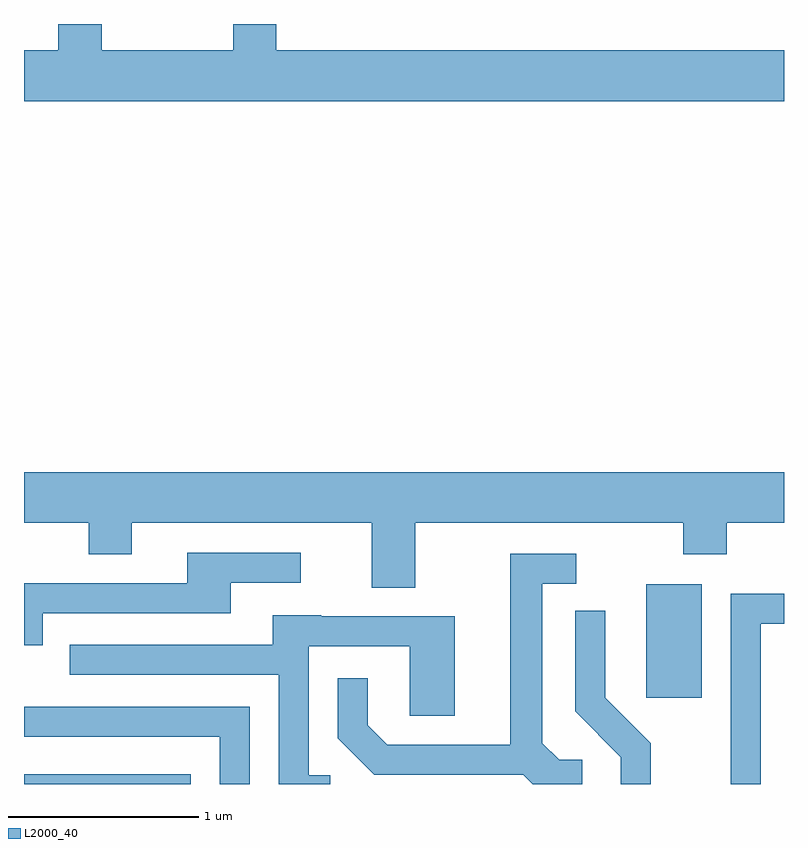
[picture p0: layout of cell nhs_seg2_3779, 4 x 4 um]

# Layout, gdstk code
import gdstk
lib = gdstk.Library(unit=1e-6, precision=1e-09)
def R(c, l, rs):  # rectangles x0, y0, x1, y1
    for r in rs: c.add(gdstk.rectangle(r[:2], r[2:], *l))
def P(c, l, *ps):  # polygons
    for p in ps: c.add(gdstk.Polygon(p, *l))
L2000_40 = (2000, 40)

nhs_seg2_3779 = lib.new_cell('nhs_seg2_3779')
R(nhs_seg2_3779, L2000_40, [(295.611,1075.802,296.489,1075.854), (298.886,1076.256,299.179,1076.854)])
P(nhs_seg2_3779, L2000_40, [(299.611,1079.664),(296.939,1079.664),(296.939,1079.802),(296.711,1079.802),(296.711,1079.664),(296.019,1079.664),(296.019,1079.802),(295.791,1079.802),(295.791,1079.664),(295.611,1079.664),(295.611,1079.396),(299.611,1079.396)],
  [(297.669,1077.176),(299.081,1077.176),(299.081,1077.011),(299.309,1077.011),(299.309,1077.176),(299.611,1077.176),(299.611,1077.444),(295.611,1077.444),(295.611,1077.176),(295.951,1077.176),(295.951,1077.011),(296.179,1077.011),(296.179,1077.176),(297.441,1077.176),(297.441,1076.836),(297.669,1076.836)],
  [(295.709,1076.701),(296.699,1076.701),(296.699,1076.861),(297.068,1076.861),(297.068,1077.019),(296.471,1077.019),(296.471,1076.859),(295.611,1076.859),(295.611,1076.531),(295.709,1076.531)],
  [(298.548,1075.929),(298.427,1075.929),(298.339,1076.017),(298.339,1076.856),(298.518,1076.856),(298.518,1077.014),(298.171,1077.014),(298.171,1076.009),(297.522,1076.009),(297.419,1076.112),(297.419,1076.358),(297.261,1076.358),(297.261,1076.044),(297.454,1075.851),(298.239,1075.851),(298.288,1075.802),(298.548,1075.802)],
  [(299.489,1076.646),(299.611,1076.646),(299.611,1076.804),(299.331,1076.804),(299.331,1075.802),(299.489,1075.802)],
  [(298.909,1076.017),(298.669,1076.257),(298.669,1076.713),(298.511,1076.713),(298.511,1076.184),(298.751,1075.944),(298.751,1075.802),(298.909,1075.802)],
  [(297.223,1075.849),(297.109,1075.849),(297.109,1076.526),(297.641,1076.526),(297.641,1076.161),(297.879,1076.161),(297.879,1076.684),(297.175,1076.684),(297.175,1076.689),(296.921,1076.689),(296.921,1076.534),(295.853,1076.534),(295.853,1076.376),(296.951,1076.376),(296.951,1075.802),(297.223,1075.802)],
  [(296.799,1076.209),(295.611,1076.209),(295.611,1076.051),(296.641,1076.051),(296.641,1075.802),(296.799,1075.802)])

lib.write_gds('nhs_seg2_3779.gds')
